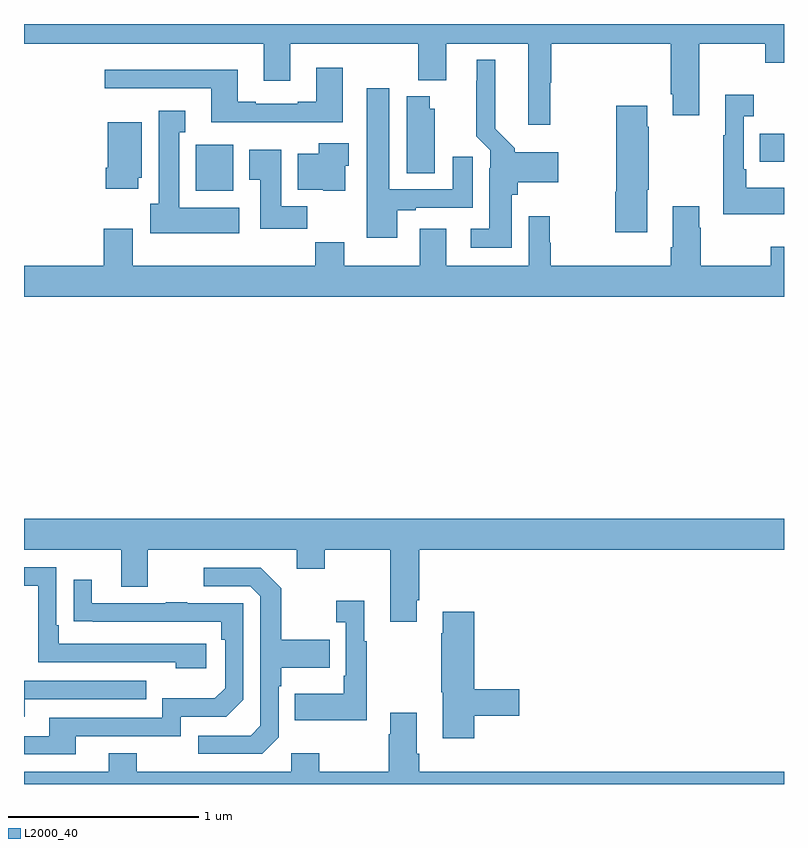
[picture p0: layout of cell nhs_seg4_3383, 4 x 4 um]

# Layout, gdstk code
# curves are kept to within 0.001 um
import gdstk
lib = gdstk.Library(unit=1e-6, precision=1e-09)
def R(c, l, rs):  # rectangles x0, y0, x1, y1
    for r in rs: c.add(gdstk.rectangle(r[:2], r[2:], *l))
def P(c, l, *ps):  # polygons
    for p in ps: c.add(gdstk.Polygon(p, *l))
L2000_40 = (2000, 40)

nhs_seg4_3383 = lib.new_cell('nhs_seg4_3383')
R(nhs_seg4_3383, L2000_40, [(289.904,820.022,290.101,820.264), (292.873,820.175,293,820.323)])
P(nhs_seg4_3383, L2000_40, [(291.771,820.592),(291.776,820.592),(291.776,820.796),(292.403,820.796),(292.403,820.531),(292.415,820.531),(292.415,820.419),(292.555,820.419),(292.555,820.796),(292.9,820.796),(292.9,820.697),(293,820.697),(293,820.9),(289,820.9),(289,820.796),(290.261,820.796),(290.261,820.602),(290.401,820.602),(290.401,820.796),(291.076,820.796),(291.076,820.604),(291.223,820.604),(291.223,820.796),(291.653,820.796),(291.653,820.371),(291.771,820.371)],
  [(291.568,820.002),(291.599,820.002),(291.599,820.067),(291.811,820.067),(291.811,820.225),(291.582,820.225),(291.582,820.246),(291.481,820.348),(291.481,820.711),(291.383,820.711),(291.383,820.601),(291.379,820.601),(291.379,820.31),(291.453,820.236),(291.453,820.142),(291.449,820.142),(291.449,819.823),(291.351,819.823),(291.351,819.722),(291.568,819.722)],
  [(290.677,820.669),(290.537,820.669),(290.537,820.492),(290.441,820.492),(290.441,820.479),(290.221,820.479),(290.221,820.492),(290.125,820.492),(290.125,820.66),(289.425,820.66),(289.425,820.563),(289.985,820.563),(289.985,820.382),(290.677,820.382)],
  [(290.965,819.921),(291.061,819.921),(291.061,819.933),(291.361,819.933),(291.361,820.201),(291.257,820.201),(291.257,820.029),(290.923,820.029),(290.923,820.561),(290.804,820.561),(290.804,819.774),(290.965,819.774)],
  [(293,820.039),(292.801,820.039),(292.801,820.135),(292.788,820.135),(292.788,820.415),(292.84,820.415),(292.84,820.528),(292.691,820.528),(292.691,820.315),(292.68,820.315),(292.68,819.899),(293,819.899)],
  [(291.163,820.455),(291.136,820.455),(291.136,820.519),(291.014,820.519),(291.014,820.114),(291.163,820.114)],
  [(292.279,820.027),(292.287,820.027),(292.287,820.358),(292.279,820.358),(292.279,820.471),(292.117,820.471),(292.117,820.016),(292.112,820.016),(292.112,819.804),(292.279,819.804)],
  [(290.134,819.934),(289.816,819.934),(289.816,820.331),(289.849,820.331),(289.849,820.444),(289.709,820.444),(289.709,819.954),(289.664,819.954),(289.664,819.8),(290.134,819.8)],
  [(289.6,820.092),(289.621,820.092),(289.621,820.384),(289.442,820.384),(289.442,820.144),(289.43,820.144),(289.43,820.032),(289.6,820.032)],
  [(290.692,820.155),(290.71,820.155),(290.71,820.273),(290.552,820.273),(290.552,820.216),(290.441,820.216),(290.441,820.028),(290.574,820.028),(290.574,820.022),(290.692,820.022)],
  [(290.492,819.94),(290.353,819.94),(290.353,820.237),(290.186,820.237),(290.186,820.081),(290.243,820.081),(290.243,819.822),(290.492,819.822)],
  [(293,819.727),(292.93,819.727),(292.93,819.628),(292.563,819.628),(292.563,819.827),(292.555,819.827),(292.555,819.94),(292.415,819.94),(292.415,819.724),(292.403,819.724),(292.403,819.628),(291.773,819.628),(291.773,819.75),(291.766,819.75),(291.766,819.889),(291.657,819.889),(291.657,819.628),(291.223,819.628),(291.223,819.823),(291.083,819.823),(291.083,819.628),(290.685,819.628),(290.685,819.752),(290.533,819.752),(290.533,819.628),(289.573,819.628),(289.573,819.823),(289.421,819.823),(289.421,819.628),(289,819.628),(289,819.464),(293,819.464)],
  [(291.067,817.867),(291.08,817.867),(291.08,818.132),(293,818.132),(293,818.296),(289,818.296),(289,818.132),(289.511,818.132),(289.511,817.938),(289.651,817.938),(289.651,818.132),(290.435,818.132),(290.435,818.033),(290.583,818.033),(290.583,818.132),(290.927,818.132),(290.927,817.755),(291.067,817.755)],
  [(289.96,817.638),(289.183,817.638),(289.183,817.735),(289.17,817.735),(289.17,818.04),(289,818.04),(289,817.944),(289.074,817.944),(289.074,817.542),(289.799,817.542),(289.799,817.508),(289.96,817.508)],
  [(290.34,817.146),(290.34,817.415),(290.353,817.415),(290.353,817.511),(290.609,817.511),(290.609,817.659),(290.353,817.659),(290.353,817.931),(290.247,818.037),(289.947,818.037),(289.947,817.941),(290.19,817.941),(290.244,817.887),(290.244,817.206),(290.193,817.155),(289.917,817.155),(289.917,817.059),(290.253,817.059)],
  [(289.273,817.152),(289.824,817.152),(289.824,817.254),(290.064,817.254),(290.154,817.344),(290.154,817.851),(289.859,817.851),(289.859,817.856),(289.747,817.856),(289.747,817.851),(289.357,817.851),(289.357,817.975),(289.261,817.975),(289.261,817.756),(290.038,817.755),(290.038,817.658),(290.058,817.658),(290.058,817.404),(290.005,817.351),(289.728,817.351),(289.728,817.248),(289.133,817.248),(289.133,817.152),(289,817.152),(289,817.056),(289.273,817.056)],
  [(290.803,817.651),(290.791,817.651),(290.791,817.864),(290.643,817.864),(290.643,817.751),(290.694,817.751),(290.694,817.471),(290.682,817.471),(290.682,817.375),(290.425,817.375),(290.425,817.235),(290.803,817.235)],
  [(291.371,817.258),(291.607,817.258),(291.607,817.4),(291.371,817.4),(291.371,817.807),(291.203,817.807),(291.203,817.694),(291.196,817.694),(291.196,817.383),(291.203,817.383),(291.203,817.14),(291.371,817.14)],
  [(289.003,817.347),(289.643,817.347),(289.643,817.443),(289,817.443),(289,817.253),(289.003,817.253)],
  [(293,816.964),(291.08,816.964),(291.08,817.06),(291.067,817.06),(291.067,817.276),(290.927,817.276),(290.927,817.163),(290.92,817.163),(290.92,816.964),(290.553,816.964),(290.553,817.063),(290.406,817.063),(290.406,816.964),(289.593,816.964),(289.593,817.063),(289.445,817.063),(289.445,816.964),(289,816.964),(289,816.9),(293,816.9)])

lib.write_gds('nhs_seg4_3383.gds')
